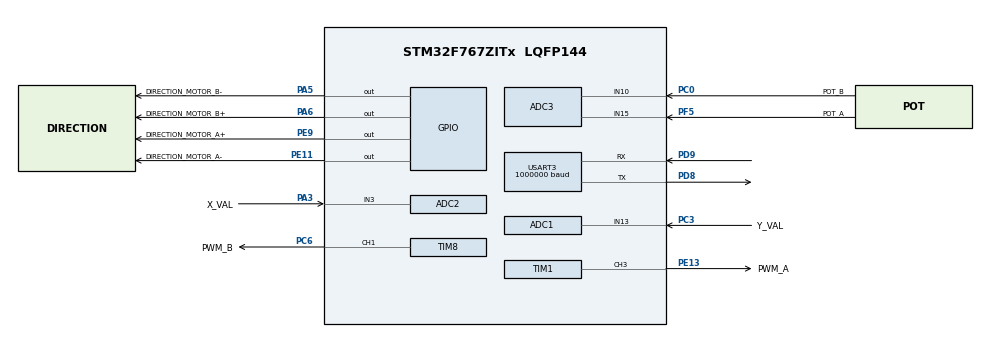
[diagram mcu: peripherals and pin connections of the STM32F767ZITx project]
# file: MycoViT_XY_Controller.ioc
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ADC1.Channel-0\#ChannelRegularConversion=ADC_CHANNEL_13
ADC1.DMAContinuousRequests=ENABLE
ADC1.ExternalTrigConv=ADC_EXTERNALTRIGCONV_T6_TRGO
ADC1.NbrOfConversionFlag=1
ADC1.Rank-0\#ChannelRegularConversion=1
ADC1.SamplingTime-0\#ChannelRegularConversion=ADC_SAMPLETIME_15CYCLES
ADC1.master=1
ADC2.Channel-5\#ChannelRegularConversion=ADC_CHANNEL_3
ADC2.DMAContinuousRequests=ENABLE
ADC2.ExternalTrigConv=ADC_EXTERNALTRIGCONV_T2_TRGO
ADC2.NbrOfConversionFlag=1
ADC2.Rank-5\#ChannelRegularConversion=1
ADC2.SamplingTime-5\#ChannelRegularConversion=ADC_SAMPLETIME_15CYCLES
ADC3.Channel-0\#ChannelRegularConversion=ADC_CHANNEL_15
ADC3.Channel-1\#ChannelRegularConversion=ADC_CHANNEL_10
ADC3.NbrOfConversion=2
ADC3.NbrOfConversionFlag=1
ADC3.Rank-0\#ChannelRegularConversion=1
ADC3.Rank-1\#ChannelRegularConversion=2
ADC3.SamplingTime-0\#ChannelRegularConversion=ADC_SAMPLETIME_480CYCLES
ADC3.SamplingTime-1\#ChannelRegularConversion=ADC_SAMPLETIME_480CYCLES
ADC3.ScanConvMode=ADC_SCAN_ENABLE
CORTEX_M7.ART_ACCELERATOR_ENABLE=1
CORTEX_M7.CPU_DCache=Enabled
CORTEX_M7.CPU_ICache=Enabled
CORTEX_M7.PREFETCH_ENABLE=1
CORTEX_M7.default_mode_Activation=1
Dma.ADC1.0.Direction=DMA_PERIPH_TO_MEMORY
Dma.ADC1.0.FIFOMode=DMA_FIFOMODE_DISABLE
Dma.ADC1.0.Instance=DMA2_Stream0
Dma.ADC1.0.MemDataAlignment=DMA_MDATAALIGN_HALFWORD
Dma.ADC1.0.MemInc=DMA_MINC_ENABLE
Dma.ADC1.0.Mode=DMA_CIRCULAR
Dma.ADC1.0.PeriphDataAlignment=DMA_PDATAALIGN_HALFWORD
Dma.ADC1.0.PeriphInc=DMA_PINC_DISABLE
Dma.ADC1.0.Priority=DMA_PRIORITY_HIGH
Dma.ADC2.2.Direction=DMA_PERIPH_TO_MEMORY
Dma.ADC2.2.FIFOMode=DMA_FIFOMODE_DISABLE
Dma.ADC2.2.Instance=DMA2_Stream2
Dma.ADC2.2.MemDataAlignment=DMA_MDATAALIGN_HALFWORD
Dma.ADC2.2.MemInc=DMA_MINC_ENABLE
Dma.ADC2.2.Mode=DMA_CIRCULAR
Dma.ADC2.2.PeriphDataAlignment=DMA_PDATAALIGN_HALFWORD
Dma.ADC2.2.PeriphInc=DMA_PINC_DISABLE
Dma.ADC2.2.Priority=DMA_PRIORITY_HIGH
Dma.ADC3.1.Direction=DMA_PERIPH_TO_MEMORY
Dma.ADC3.1.FIFOMode=DMA_FIFOMODE_DISABLE
Dma.ADC3.1.Instance=DMA2_Stream1
Dma.ADC3.1.MemDataAlignment=DMA_MDATAALIGN_HALFWORD
Dma.ADC3.1.MemInc=DMA_MINC_ENABLE
Dma.ADC3.1.Mode=DMA_CIRCULAR
Dma.ADC3.1.PeriphDataAlignment=DMA_PDATAALIGN_HALFWORD
Dma.ADC3.1.PeriphInc=DMA_PINC_DISABLE
Dma.ADC3.1.Priority=DMA_PRIORITY_HIGH
Dma.Request0=ADC1
Dma.Request1=ADC3
Dma.Request2=ADC2
Dma.Request3=USART3_RX
Dma.Request4=USART3_TX
Dma.USART3_RX.3.Direction=DMA_PERIPH_TO_MEMORY
Dma.USART3_RX.3.FIFOMode=DMA_FIFOMODE_DISABLE
Dma.USART3_RX.3.Instance=DMA1_Stream1
Dma.USART3_RX.3.MemDataAlignment=DMA_MDATAALIGN_BYTE
Dma.USART3_RX.3.MemInc=DMA_MINC_ENABLE
Dma.USART3_RX.3.Mode=DMA_CIRCULAR
Dma.USART3_RX.3.PeriphDataAlignment=DMA_PDATAALIGN_BYTE
Dma.USART3_RX.3.PeriphInc=DMA_PINC_DISABLE
Dma.USART3_RX.3.Priority=DMA_PRIORITY_LOW
Dma.USART3_TX.4.Direction=DMA_MEMORY_TO_PERIPH
Dma.USART3_TX.4.FIFOMode=DMA_FIFOMODE_DISABLE
Dma.USART3_TX.4.Instance=DMA1_Stream3
Dma.USART3_TX.4.MemDataAlignment=DMA_MDATAALIGN_BYTE
Dma.USART3_TX.4.MemInc=DMA_MINC_ENABLE
Dma.USART3_TX.4.Mode=DMA_NORMAL
Dma.USART3_TX.4.PeriphDataAlignment=DMA_PDATAALIGN_BYTE
Dma.USART3_TX.4.PeriphInc=DMA_PINC_DISABLE
Dma.USART3_TX.4.Priority=DMA_PRIORITY_LOW
Mcu.Family=STM32F7
Mcu.Name=STM32F767ZITx
Mcu.Package=LQFP144
NVIC.ADC_IRQn=true\:1\:0\:false\:false\:false\:true\:false\:false
NVIC.DMA1_Stream1_IRQn=true\:11\:0\:true\:false\:true\:false\:false\:true
NVIC.DMA1_Stream3_IRQn=true\:11\:0\:true\:false\:true\:false\:false\:true
NVIC.DMA2_Stream0_IRQn=true\:0\:0\:false\:false\:false\:false\:false\:false
NVIC.DMA2_Stream1_IRQn=true\:0\:0\:false\:false\:false\:false\:false\:false
NVIC.DMA2_Stream2_IRQn=true\:0\:0\:false\:false\:false\:false\:false\:false
NVIC.PriorityGroup=NVIC_PRIORITYGROUP_4
NVIC.USART3_IRQn=true\:10\:0\:true\:false\:true\:true\:false\:true
PA13.Mode=Serial_Wire
PA13.Signal=SYS_JTMS-SWDIO
PA14.Mode=Serial_Wire
PA14.Signal=SYS_JTCK-SWCLK
PA5.GPIO_Label=DIRECTION_MOTOR_B-
PA5.Signal=GPIO_Output
PA6.GPIO_Label=DIRECTION_MOTOR_B+
PA6.Signal=GPIO_Output
PA3.GPIO_Label=X_VAL
PA3.Signal=ADCx_IN3
PC0.GPIO_Label=POT_B
PC0.Signal=ADCx_IN10
PC3.GPIO_Label=Y_VAL
PC3.Signal=ADCx_IN13
PC6.GPIO_Label=PWM_B
PC6.Signal=S_TIM8_CH1
PD8.Mode=Asynchronous
PD8.Signal=USART3_TX
PD9.Mode=Asynchronous
PD9.Signal=USART3_RX
PE11.GPIO_Label=DIRECTION_MOTOR_A-
PE11.Signal=GPIO_Output
PE13.GPIO_Label=PWM_A
PE13.Signal=S_TIM1_CH3
PE9.GPIO_Label=DIRECTION_MOTOR_A+
PE9.Signal=GPIO_Output
PF5.GPIO_Label=POT_A
PF5.Mode=IN15
PF5.Signal=ADC3_IN15
PH0/OSC_IN.Mode=HSE-External-Clock-Source
PH0/OSC_IN.Signal=RCC_OSC_IN
PH1/OSC_OUT.Mode=HSE-External-Clock-Source
PH1/OSC_OUT.Signal=RCC_OSC_OUT
ProjectManager.HeapSize=0x200
ProjectManager.StackSize=0x800
ProjectManager.TargetToolchain=Makefile
RCC.AHBFreq_Value=216000000
RCC.APB1CLKDivider=RCC_HCLK_DIV4
RCC.APB1Freq_Value=54000000
RCC.APB1TimFreq_Value=108000000
RCC.APB2CLKDivider=RCC_HCLK_DIV2
RCC.APB2Freq_Value=108000000
RCC.APB2TimFreq_Value=216000000
RCC.CortexFreq_Value=216000000
RCC.EnbaleCSS=true
RCC.HCLKFreq_Value=216000000
RCC.HSE_VALUE=8000000
RCC.HSI_VALUE=16000000
RCC.LSE_VALUE=32768
RCC.PLLI2SN=216
RCC.PLLM=4
RCC.PLLN=216
RCC.PLLSAIN=216
RCC.PLLSourceVirtual=RCC_PLLSOURCE_HSE
RCC.SYSCLKFreq_VALUE=216000000
RCC.SYSCLKSource=RCC_SYSCLKSOURCE_PLLCLK
RCC.USBFreq_Value=216000000
RCC.VCOOutputFreq_Value=432000000
SH.ADCx_IN10.0=ADC3_IN10,IN10
SH.ADCx_IN13.0=ADC1_IN13,IN13
SH.ADCx_IN3.0=ADC2_IN3,IN3
SH.S_TIM1_CH3.0=TIM1_CH3,PWM Generation3 CH3
SH.S_TIM8_CH1.0=TIM8_CH1,PWM Generation1 CH1
TIM1.Channel-PWM\ Generation3\ CH3=TIM_CHANNEL_3
TIM1.Period=4319
TIM2.AutoReloadPreload=TIM_AUTORELOAD_PRELOAD_ENABLE
TIM2.Period=0
TIM2.Prescaler=107
TIM2.TIM_MasterOutputTrigger=TIM_TRGO_UPDATE
TIM6.AutoReloadPreload=TIM_AUTORELOAD_PRELOAD_ENABLE
TIM6.Period=0
TIM6.Prescaler=107
TIM6.TIM_MasterOutputTrigger=TIM_TRGO_UPDATE
TIM8.AutoReloadPreload=TIM_AUTORELOAD_PRELOAD_ENABLE
TIM8.Channel-PWM\ Generation1\ CH1=TIM_CHANNEL_1
TIM8.Period=4319
USART3.BaudRate=1000000
USART3.VirtualMode-Asynchronous=VM_ASYNC
VP_TIM1_VS_ClockSourceINT.Mode=Internal
VP_TIM2_VS_ClockSourceINT.Mode=Internal
VP_TIM6_VS_ClockSourceINT.Mode=Enable_Timer
VP_TIM8_VS_ClockSourceINT.Mode=Internal
board=custom

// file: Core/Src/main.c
/* USER CODE BEGIN Header */
/**
  ******************************************************************************
  * @file           : main.c
  * @brief          : Main program body
  ******************************************************************************
  * @attention
  *
  * Copyright (c) 2026 STMicroelectronics.
  * All rights reserved.
  *
  * This software is licensed under terms that can be found in the LICENSE file
  * in the root directory of this software component.
  * If no LICENSE file comes with this software, it is provided AS-IS.
  *
  ******************************************************************************
  */
/* USER CODE END Header */
#include "main.h"
#include "adc.h"
#include "dma.h"
#include "tim.h"
#include "usart.h"
#include "gpio.h"

/* USER CODE BEGIN Includes */
#include <stdio.h>
#include "app_motor.h"
#include "app_adc.h"
#include "app_control.h"
#include "app_serial.h"
#include "app_rt.h"
/* Lazo de supervisión: serial + control + telemetría CSV (2 Mbps, streaming).
   Lazo de tiempo real @ 1 MHz en app_rt (independiente del UART). Ver Docs/. */
/* USER CODE END Includes */

/* USER CODE BEGIN PD */
/* Telemetry decimation in ms. 0 = stream every main-loop iteration (maximum
   throughput, bounded only by the UART/VCP link). */
/* Telemetría a máxima tasa (0 = cada vuelta del main). La UI host decima. */
#define TELEMETRY_INTERVAL_MS 1U
/* USER CODE END PD */

/* USER CODE BEGIN PV */
extern volatile uint32_t g_tick_ms;
/* USER CODE END PV */

void SystemClock_Config(void);
static void MPU_Config(void);

/* USER CODE BEGIN 0 */

int __io_putchar(int ch)
{
  while (!LL_USART_IsActiveFlag_TXE(USART3))
  {
  }
  LL_USART_TransmitData8(USART3, (uint8_t)ch);
  return ch;
}

/* USER CODE END 0 */

int main(void)
{

  /* MPU Configuration--------------------------------------------------------*/
  MPU_Config();

  /* Enable the CPU Cache */

  /* Enable I-Cache---------------------------------------------------------*/
  SCB_EnableICache();

  /* Enable D-Cache---------------------------------------------------------*/
  SCB_EnableDCache();

  /* MCU Configuration--------------------------------------------------------*/

  /* Reset of all peripherals, Initializes the Flash interface and the Systick. */
  LL_APB1_GRP1_EnableClock(LL_APB1_GRP1_PERIPH_PWR);
  LL_APB2_GRP1_EnableClock(LL_APB2_GRP1_PERIPH_SYSCFG);

  /* System interrupt init*/
  NVIC_SetPriorityGrouping(NVIC_PRIORITYGROUP_4);

  /* SysTick_IRQn interrupt configuration */
  NVIC_SetPriority(SysTick_IRQn, NVIC_EncodePriority(NVIC_GetPriorityGrouping(),15, 0));

  /* Configure the system clock */
  SystemClock_Config();

  /* Initialize all configured peripherals */
  MX_GPIO_Init();
  MX_DMA_Init();
  MX_ADC1_Init();
  MX_USART3_UART_Init();
  MX_ADC2_Init();
  MX_ADC3_Init();
  MX_TIM1_Init();
  MX_TIM2_Init();
  MX_TIM6_Init();
  MX_TIM8_Init();
  /* USER CODE BEGIN 2 */
  SysTick->CTRL |= SysTick_CTRL_TICKINT_Msk;

  app_motor_init();
  app_adc_init();
  app_control_init();
  app_serial_init();
  app_rt_init();          /* 1 MHz sensor acquisition + control ISR backbone */

  /* CSV header (once), 6-field format expected by the GUI. */
  printf("PotenciaA,PotenciaB,Sensor1,Sensor2,Estado,Settled\r\n");

  uint32_t last_tlm_ms = g_tick_ms;
  uint32_t last_rate_ms = g_tick_ms;
  uint32_t last_rate_ticks = app_rt_tick_count();
  /* USER CODE END 2 */

  /* Infinite loop */
  /* USER CODE BEGIN WHILE */
  while (1)
  {
    /* Handle any pending serial command (M / A,a,b). */
    app_serial_process();

    /* Apply the active control mode to the motors. */
    app_control_step();

    /* Telemetry streamed as fast as the link allows (polling TX blocks until
       each line is on the wire; the 1 MHz control ISR preempts and is unaffected).
       Set TELEMETRY_INTERVAL_MS > 0 to decimate; 0 = maximum throughput. */
    if ((g_tick_ms - last_tlm_ms) >= TELEMETRY_INTERVAL_MS)
    {
      last_tlm_ms = g_tick_ms;
      /* EMA N=3 (sigue el ADC). Raw en app_rt_get_x/y si hace falta. */
      uint16_t sensor1 = app_rt_get_y_filtered();
      uint16_t sensor2 = app_rt_get_x_filtered();
      printf("%d,%d,%u,%u,%s,%d\r\n",
             app_control_power_a(),
             app_control_power_b(),
             (unsigned)sensor1,
             (unsigned)sensor2,
             app_control_state_str(),
             app_control_settled());
    }

    /* Once per second, report the measured real-time loop rate (INFO line is
       ignored by the GUI) so the ~1 MHz backbone can be verified without a scope. */
    if ((g_tick_ms - last_rate_ms) >= 1000U)
    {
      uint32_t now_ticks = app_rt_tick_count();
      uint32_t rate = now_ticks - last_rate_ticks;
      last_rate_ticks = now_ticks;
      last_rate_ms += 1000U;
      printf("INFO: rt_loop=%lu Hz\r\n", (unsigned long)rate);
    }
    /* USER CODE END WHILE */

  }
}

void SystemClock_Config(void)
{
  LL_FLASH_SetLatency(LL_FLASH_LATENCY_7);
  while(LL_FLASH_GetLatency()!= LL_FLASH_LATENCY_7)
  {
  }
  LL_PWR_SetRegulVoltageScaling(LL_PWR_REGU_VOLTAGE_SCALE1);
  LL_PWR_EnableOverDriveMode();
  LL_RCC_HSE_EnableBypass();
  LL_RCC_HSE_Enable();

   /* Wait till HSE is ready */
  while(LL_RCC_HSE_IsReady() != 1)
  {

  }
  LL_RCC_HSE_EnableCSS();
  LL_RCC_PLL_ConfigDomain_SYS(LL_RCC_PLLSOURCE_HSE, LL_RCC_PLLM_DIV_4, 216, LL_RCC_PLLP_DIV_2);
  LL_RCC_PLL_Enable();

   /* Wait till PLL is ready */
  while(LL_RCC_PLL_IsReady() != 1)
  {

  }
  while (LL_PWR_IsActiveFlag_VOS() == 0)
  {
  }
  LL_RCC_SetAHBPrescaler(LL_RCC_SYSCLK_DIV_1);
  LL_RCC_SetAPB1Prescaler(LL_RCC_APB1_DIV_4);
  LL_RCC_SetAPB2Prescaler(LL_RCC_APB2_DIV_2);
  LL_RCC_SetSysClkSource(LL_RCC_SYS_CLKSOURCE_PLL);

   /* Wait till System clock is ready */
  while(LL_RCC_GetSysClkSource() != LL_RCC_SYS_CLKSOURCE_STATUS_PLL)
  {

  }
  LL_Init1msTick(216000000);
  LL_SetSystemCoreClock(216000000);

   /* Set Timers Clock Prescalers */
  LL_RCC_SetTIMPrescaler(LL_RCC_TIM_PRESCALER_TWICE);
}

 /* MPU Configuration */

void MPU_Config(void)
{

  /* Disables the MPU */
  LL_MPU_Disable();

  /** Initializes and configures the Region and the memory to be protected
  */
  LL_MPU_ConfigRegion(LL_MPU_REGION_NUMBER0, 0x87, 0x0, LL_MPU_REGION_SIZE_4GB|LL_MPU_TEX_LEVEL0|LL_MPU_REGION_NO_ACCESS|LL_MPU_INSTRUCTION_ACCESS_DISABLE|LL_MPU_ACCESS_SHAREABLE|LL_MPU_ACCESS_NOT_CACHEABLE|LL_MPU_ACCESS_NOT_BUFFERABLE);
  /* Enables the MPU */
  LL_MPU_Enable(LL_MPU_CTRL_PRIVILEGED_DEFAULT);

}

void Error_Handler(void)
{
  __disable_irq();
  while (1)
  {
  }
}
